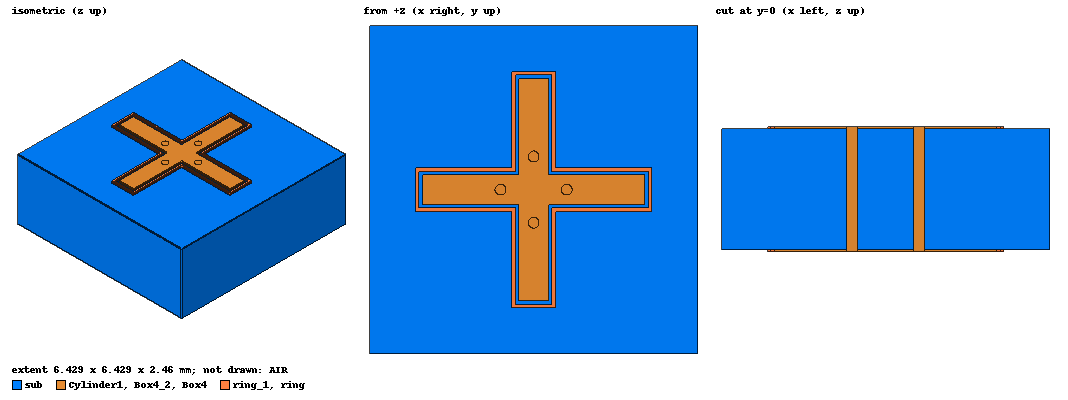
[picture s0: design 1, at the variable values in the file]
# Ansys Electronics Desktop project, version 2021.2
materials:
  Rogers RT/duroid 5880 (tm): permittivity=2.2 dielectric_loss_tangent=0.0009
  copper: permeability=0.999991 conductivity=58000000
  vacuum: permittivity=1

design 1 (HFSS, DrivenModal, model units mm)
options: Allow_Material_Override Save_Adaptive_support_files
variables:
  p = (9/1.4) mm
  l2 = (4.5/1.4) mm
  h = 2.36mm
  t1 = (180/1.4) deg
  w = (0.8/1.4) mm
  lx1 = lx-4*g
  lx = 4.643mm
  g = (0.1/1.4) mm
  yr = a*lx
  a = 0.14
  hm = 0.05mm
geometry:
  AIR [vacuum] = box(corner=(-0.5*p, -0.5*p, 8mm), size=(p, p, -18mm))
  Box4 [copper] = box(corner=(-0.5*lx1, -0.5*w, 0mm), size=(lx1, w, hm))
  sub [Rogers RT/duroid 5880 (tm)] = box(corner=(-0.5*p, -0.5*p, 0), size=(p, p, -h))
  Box4_1 = Box4.duplicate_around_axis(axis=Z, angle=90deg, total=2)
  ring [copper] = box(corner=(-0.5*lx, -0.5*(w+4*g), 0mm), size=(lx, w+4*g, 0.05mm))
  Box6 = box(corner=(-0.5*(lx1+2*g), -0.5*(w+2*g), 0mm), size=(lx1+2*g, w+2*g, 0.05mm))
  Box5_1 = ring.duplicate_around_axis(axis=Z, angle=90deg, total=2)
  ring.unite(Box5_1)
  Box6_1 = Box6.duplicate_around_axis(axis=Z, angle=90deg, total=2)
  Box6.unite(Box6_1)
  ring.subtract(Box6)
  Cylinder1 [copper] = cylinder(axis=Z, base_centre=(0mm, yr, hm), radius=(0.15/1.4) mm, height=-h-2*hm)
  Cylinder1_1, Cylinder1_2, Cylinder1_3 = Cylinder1.duplicate_around_axis(axis=Z, angle=90deg, total=4)
  Box4.unite(Box4_1)
  Cylinder1.unite(Cylinder1_1, Cylinder1_2, Cylinder1_3)
  Box4_2 [copper] = Box4.duplicate_along_line(step=(0mm, 0mm, -h-hm), total=2)
  ring_1 [copper] = ring.duplicate_along_line(step=(0mm, 0mm, -h-hm), total=2)
  Cylinder1_4 = Cylinder1.copy()
  Box4.subtract(Cylinder1_4)
  Cylinder1_5 = Cylinder1.copy()
  Box4_2.subtract(Cylinder1_5)
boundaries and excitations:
  Master1: Primary Faces=AIR.face(+x) CoordSysVector{AIR.vertex(5 of 8) -> AIR.edge(12 of 12) at 0.576 along} ReverseV
  Slave1: Secondary Faces=AIR.face(-x) CoordSysVector{AIR.vertex(8 of 8) -> AIR.edge(11 of 12) at 0.576 along} primary=Master1 PhaseDelay=UseScanAngle Phi=0deg Theta=t1
  Master2: Primary Faces=AIR.face(+y) CoordSysVector{AIR.vertex(8 of 8) -> AIR.edge(11 of 12) at 0.576 along} ReverseV
  Slave2: Secondary Faces=AIR.face(-y) CoordSysVector{AIR.vertex(7 of 8) -> AIR.edge(9 of 12) at 0.576 along} primary=Master2 PhaseDelay=UseScanAngle Phi=0deg Theta=t1
  FloquetPort1: Floquet Port Faces=AIR.face(+z) NumModes=2 DeembedDist=8mm-hm Modes{Mode1{CharImp=Zpi} Mode2{CharImp=Zpi}} PhaseDelay=UseScanAngle Phi=0deg Theta=t1 LatticeAVector{AIR.vertex(2 of 8) -> AIR.vertex(3 of 8)} LatticeBVector{AIR.vertex(2 of 8) -> AIR.vertex(1 of 8)} ModesList{Mode{ModeNumber=1 IndexM=0 IndexN=0 KC2=0 PropagationState=Propagating Attenuation=0 PolarizationState=TE AffectsRefinement} Mode{ModeNumber=2 IndexM=0 IndexN=0 KC2=0 PropagationState=Propagating Attenuation=0 PolarizationState=TM AffectsRefinement}}
  FloquetPort2: Floquet Port Faces=AIR.face(-z) NumModes=2 DeembedDist=10mm-h-hm Modes{Mode1{CharImp=Zpi} Mode2{CharImp=Zpi}} PhaseDelay=UseScanAngle Phi=0deg Theta=t1 LatticeAVector{AIR.vertex(5 of 8) -> AIR.vertex(8 of 8)} LatticeBVector{AIR.vertex(5 of 8) -> AIR.vertex(6 of 8)} ModesList{Mode{ModeNumber=1 IndexM=0 IndexN=0 KC2=0 PropagationState=Propagating Attenuation=0 PolarizationState=TE AffectsRefinement} Mode{ModeNumber=2 IndexM=0 IndexN=0 KC2=0 PropagationState=Propagating Attenuation=0 PolarizationState=TM AffectsRefinement}}
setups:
  Setup1: HfssDriven Frequency=28GHz MaxDeltaS=0.02 MaximumPasses=25 MinimumPasses=1 MinimumConvergedPasses=1 PercentRefinement=30 BasisOrder=1 PortAccuracy=2
    sweep Sweep: 27GHz to 29GHz step 0.1GHz; Type=Interpolating InterpTolerance=0.5 InterpMaxSolns=250 InterpUsePortImped=false PassivityErrorTolerance=0.0001
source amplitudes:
  FloquetPort1:1: 1W 0deg
  FloquetPort1:2, FloquetPort2:1, FloquetPort2:2: 0W 0deg
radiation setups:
  Infinite Sphere1: Infinite Sphere Theta=0deg..360deg step 2deg Phi=0deg..360deg step 2deg
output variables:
  PCR = mag(S(FloquetPort1:2,FloquetPort1:1))^2/(mag(S(FloquetPort1:1,FloquetPort1:1))^2+mag(S(FloquetPort1:2,FloquetPort1:1))^2)
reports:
  S Parameter Plot 1: ang_deg(S(FloquetPort2:1,FloquetPort1:1)) vs Freq on Setup1 : Sweep
